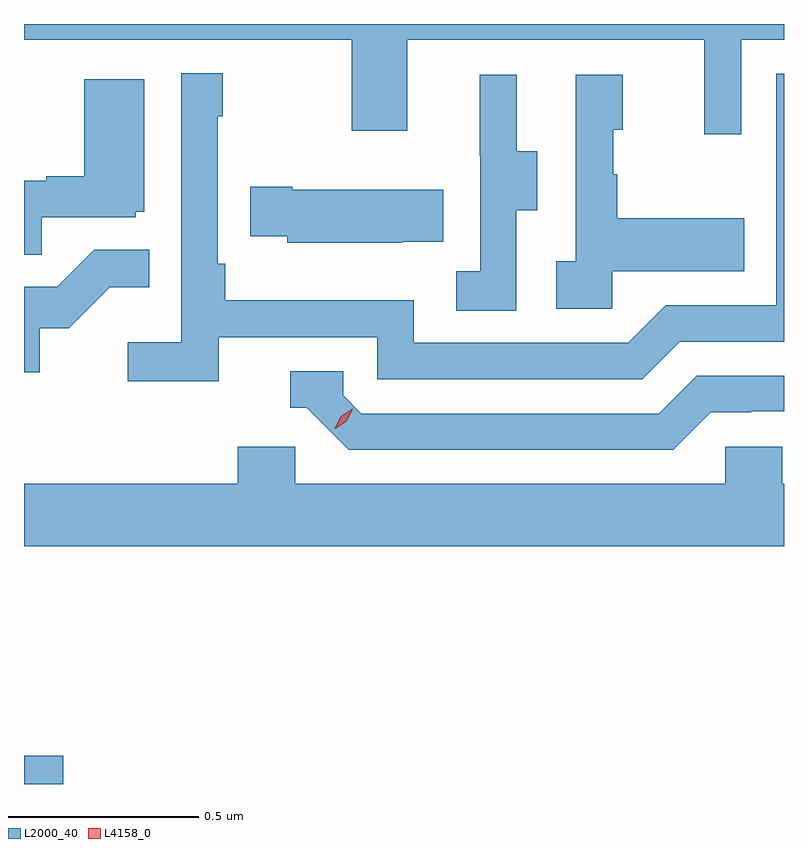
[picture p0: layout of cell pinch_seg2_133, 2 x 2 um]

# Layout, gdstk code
import gdstk
lib = gdstk.Library(unit=1e-6, precision=1e-09)
def R(c, l, rs):  # rectangles x0, y0, x1, y1
    for r in rs: c.add(gdstk.rectangle(r[:2], r[2:], *l))
def P(c, l, *ps):  # polygons
    for p in ps: c.add(gdstk.Polygon(p, *l))
L2000_40 = (2000, 40)
L4158_0 = (4158, 0)

pinch_seg2_133 = lib.new_cell('pinch_seg2_133')
R(pinch_seg2_133, L2000_40, [(1054.74,628.362,1054.843,628.436)])
P(pinch_seg2_133, L2000_40, [(1056.627,630.32),(1056.74,630.32),(1056.74,630.362),(1054.74,630.362),(1054.74,630.32),(1055.602,630.32),(1055.602,630.081),(1055.749,630.081),(1055.749,630.32),(1056.53,630.32),(1056.53,630.072),(1056.627,630.072)],
  [(1055.252,629.538),(1055.67,629.538),(1055.67,629.427),(1056.367,629.427),(1056.466,629.526),(1056.74,629.526),(1056.74,630.231),(1056.72,630.231),(1056.72,629.622),(1056.429,629.622),(1056.33,629.523),(1055.766,629.523),(1055.766,629.635),(1055.27,629.635),(1055.27,629.731),(1055.25,629.731),(1055.25,630.119),(1055.263,630.119),(1055.263,630.232),(1055.154,630.232),(1055.154,629.524),(1055.013,629.524),(1055.013,629.422),(1055.252,629.422)],
  [(1056.288,629.711),(1056.635,629.711),(1056.635,629.851),(1056.301,629.851),(1056.301,629.966),(1056.291,629.966),(1056.291,630.084),(1056.316,630.084),(1056.316,630.229),(1056.192,630.229),(1056.192,629.738),(1056.141,629.738),(1056.141,629.613),(1056.288,629.613)],
  [(1056.036,629.872),(1056.091,629.872),(1056.091,630.027),(1056.037,630.027),(1056.037,630.229),(1055.939,630.229),(1055.939,630.015),(1055.94,630.015),(1055.94,629.711),(1055.877,629.711),(1055.877,629.608),(1056.036,629.608)],
  [(1054.787,629.853),(1055.034,629.853),(1055.034,629.868),(1055.056,629.868),(1055.056,630.217),(1054.898,630.217),(1054.898,629.962),(1054.799,629.962),(1054.799,629.949),(1054.74,629.949),(1054.74,629.755),(1054.787,629.755)],
  [(1055.735,629.789),(1055.843,629.789),(1055.843,629.926),(1055.446,629.926),(1055.446,629.934),(1055.335,629.934),(1055.335,629.804),(1055.433,629.804),(1055.433,629.786),(1055.735,629.786)],
  [(1054.782,629.562),(1054.858,629.562),(1054.965,629.669),(1055.069,629.669),(1055.069,629.768),(1054.925,629.768),(1054.827,629.67),(1054.74,629.67),(1054.74,629.445),(1054.782,629.445)],
  [(1056.547,629.34),(1056.654,629.34),(1056.654,629.343),(1056.74,629.343),(1056.74,629.436),(1056.51,629.436),(1056.411,629.337),(1055.628,629.337),(1055.58,629.385),(1055.58,629.448),(1055.441,629.448),(1055.441,629.352),(1055.484,629.352),(1055.595,629.241),(1056.448,629.241)],
  [(1056.74,629.152),(1056.735,629.152),(1056.735,629.25),(1056.585,629.25),(1056.585,629.152),(1055.454,629.152),(1055.454,629.25),(1055.303,629.25),(1055.303,629.152),(1054.74,629.152),(1054.74,628.988),(1056.74,628.988)])
P(pinch_seg2_133, L4158_0, [(1055.558,629.297),(1055.558,629.298),(1055.574,629.33),(1055.605,629.35),(1055.605,629.35),(1055.605,629.35),(1055.589,629.317),(1055.559,629.297)])

lib.write_gds('pinch_seg2_133.gds')
